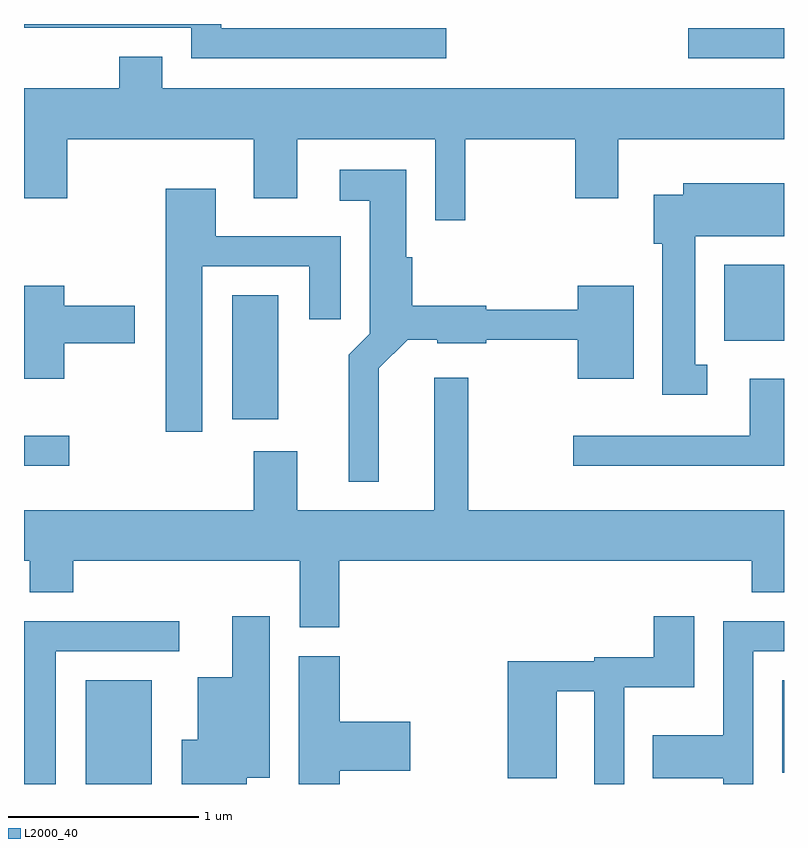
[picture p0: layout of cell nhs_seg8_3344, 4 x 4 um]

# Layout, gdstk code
import gdstk
lib = gdstk.Library(unit=1e-6, precision=1e-09)
def R(c, l, rs):  # rectangles x0, y0, x1, y1
    for r in rs: c.add(gdstk.rectangle(r[:2], r[2:], *l))
def P(c, l, *ps):  # polygons
    for p in ps: c.add(gdstk.Polygon(p, *l))
L2000_40 = (2000, 40)

nhs_seg8_3344 = lib.new_cell('nhs_seg8_3344')
R(nhs_seg8_3344, L2000_40, [(285.936,1846.342,286.284,1846.889), (289.601,1846.401,289.611,1846.889), (285.611,1848.016,285.848,1848.174), (286.706,1848.261,286.949,1848.914), (289.296,1848.676,289.611,1849.074), (289.108,1850.161,289.611,1850.319)])
P(nhs_seg8_3344, L2000_40, [(287.833,1850.319),(286.649,1850.319),(286.649,1850.342),(285.613,1850.342),(285.613,1850.321),(286.491,1850.321),(286.491,1850.161),(287.833,1850.161)],
  [(286.339,1850.169),(286.111,1850.169),(286.111,1850.004),(285.611,1850.004),(285.611,1849.426),(285.839,1849.426),(285.839,1849.736),(286.821,1849.736),(286.821,1849.426),(287.049,1849.426),(287.049,1849.736),(287.776,1849.736),(287.776,1849.308),(287.934,1849.308),(287.934,1849.736),(288.511,1849.736),(288.511,1849.426),(288.739,1849.426),(288.739,1849.736),(289.611,1849.736),(289.611,1850.004),(286.339,1850.004)],
  [(287.479,1848.529),(287.632,1848.681),(287.786,1848.681),(287.786,1848.661),(288.044,1848.661),(288.044,1848.681),(288.526,1848.681),(288.526,1848.476),(288.819,1848.476),(288.819,1848.964),(288.526,1848.964),(288.526,1848.839),(288.044,1848.839),(288.044,1848.859),(287.654,1848.859),(287.654,1849.114),(287.624,1849.114),(287.624,1849.574),(287.273,1849.574),(287.273,1849.411),(287.431,1849.411),(287.431,1848.712),(287.321,1848.602),(287.321,1847.933),(287.479,1847.933)],
  [(289.208,1848.549),(289.144,1848.549),(289.144,1849.226),(289.611,1849.226),(289.611,1849.504),(289.081,1849.504),(289.081,1849.444),(288.926,1849.444),(288.926,1849.186),(288.971,1849.186),(288.971,1848.391),(289.208,1848.391)],
  [(286.549,1849.066),(287.111,1849.066),(287.111,1848.788),(287.279,1848.788),(287.279,1849.224),(286.619,1849.224),(286.619,1849.474),(286.356,1849.474),(286.356,1848.196),(286.549,1848.196)],
  [(285.824,1848.661),(286.194,1848.661),(286.194,1848.859),(285.824,1848.859),(285.824,1848.964),(285.611,1848.964),(285.611,1848.476),(285.824,1848.476)],
  [(287.049,1848.094),(286.821,1848.094),(286.821,1847.784),(285.611,1847.784),(285.611,1847.516),(285.641,1847.516),(285.641,1847.351),(285.869,1847.351),(285.869,1847.516),(287.061,1847.516),(287.061,1847.166),(287.269,1847.166),(287.269,1847.516),(289.441,1847.516),(289.441,1847.351),(289.611,1847.351),(289.611,1847.784),(287.949,1847.784),(287.949,1848.479),(287.771,1848.479),(287.771,1847.784),(287.049,1847.784)],
  [(289.611,1848.474),(289.431,1848.474),(289.431,1848.174),(288.503,1848.174),(288.503,1848.016),(289.611,1848.016)],
  [(288.769,1846.851),(289.139,1846.851),(289.139,1847.224),(288.926,1847.224),(288.926,1847.009),(288.611,1847.009),(288.611,1846.989),(288.156,1846.989),(288.156,1846.371),(288.414,1846.371),(288.414,1846.831),(288.611,1846.831),(288.611,1846.342),(288.769,1846.342)],
  [(286.784,1846.376),(286.904,1846.376),(286.904,1847.224),(286.706,1847.224),(286.706,1846.904),(286.526,1846.904),(286.526,1846.574),(286.441,1846.574),(286.441,1846.342),(286.784,1846.342)],
  [(289.449,1847.041),(289.611,1847.041),(289.611,1847.199),(289.291,1847.199),(289.291,1846.599),(288.921,1846.599),(288.921,1846.371),(289.291,1846.371),(289.291,1846.342),(289.449,1846.342)],
  [(285.779,1847.041),(286.428,1847.041),(286.428,1847.199),(285.611,1847.199),(285.611,1846.342),(285.779,1846.342)],
  [(287.274,1846.411),(287.644,1846.411),(287.644,1846.669),(287.274,1846.669),(287.274,1847.014),(287.056,1847.014),(287.056,1846.342),(287.274,1846.342)])

lib.write_gds('nhs_seg8_3344.gds')
